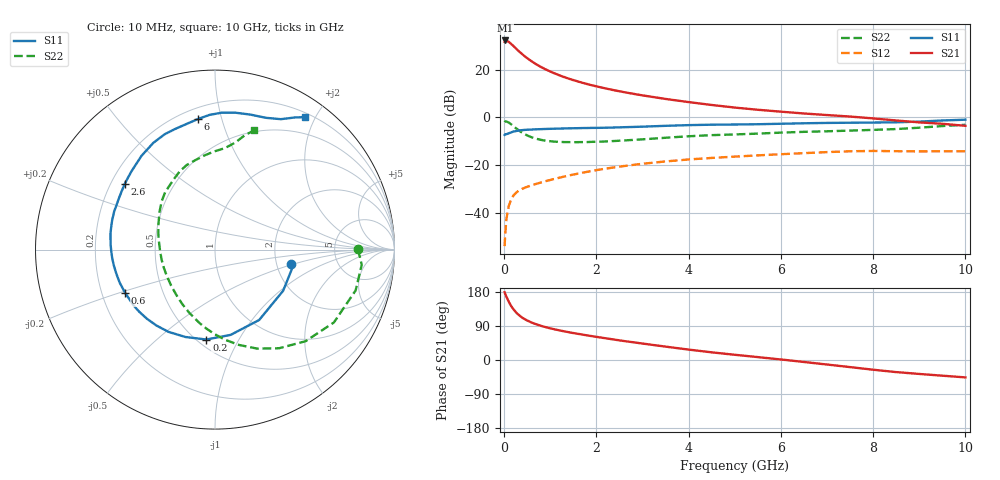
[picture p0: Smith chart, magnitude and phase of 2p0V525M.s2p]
! (c) 2009  Infineon Technologies AG, Munich
! Infineon Technologies  Discrete & RF Semiconductors
! BFP420
! VCE =  0.5 V,  IC =  25 mA
! Common Emitter S-Parameters:  Nov 2009
# GHz  S  MA  R  50
!  f  S11  S21  S12  S22
! GHz  MAG  ANG  MAG  ANG  MAG  ANG  MAG  ANG
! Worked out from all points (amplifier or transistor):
!   46 points, 10 MHz to 10 GHz, reference 50 ohm
!   highest |S21| = 32.2 dB at 20 MHz (marker M1)
!   |S21| within 3 dB of that: start of sweep to 237 MHz
!   unconditionally stable (mu >= 1): start of sweep to 19.49 MHz; 1.348 GHz to end of sweep
!   at 300 MHz: K = 0.42, MSG = 29.5 dB, |S12| = -31.0 dB
!   at 1.7 GHz: K = 1.07, MAG = 17.2 dB, |S12| = -23.2 dB
!   at 10 GHz: K = 1.04, MAG = 4.1 dB, |S12| = -14.2 dB
!   lowest NFmin = 1.38 dB at 900 MHz
!   S11 on the Smith chart (normalised r, x): 10 MHz: 2.40, -0.47; 200 MHz: 0.55, -0.74; 600 MHz: 0.30, -0.21; 2.6 GHz: 0.26, +0.30; 6 GHz: 0.27, +0.84; 10 GHz: 0.26, +1.86
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0.01  0.43 -10.8  38.16 178.7  0.002 96.7  0.7964 0.1
0.02  0.4426 -13.4  40.8 175.1  0.0032 90.7  0.8219 -5.9
0.05  0.4436 -31.1  40.3 166.7  0.0076 80.3  0.8159 -16.2
0.1  0.463 -57.9  38.16 153.9  0.0138 71.8  0.7769 -31.5
0.15  0.4831 -79.6  34.61 142.9  0.019 64.2  0.7174 -45.4
0.2  0.5033 -95.5  31.32 134.1  0.0229 58.6  0.6554 -57.0
0.25  0.514 -108.7  28.07 126.7  0.0259 54.7  0.5992 -67.0
0.3  0.5264 -119.4  25.22 120.6  0.0283 51.7  0.5486 -75.7
0.35  0.5342 -127.6  22.83 115.6  0.0304 49.8  0.5066 -83.4
0.45  0.546 -140.6  18.9 107.5  0.0336 47.4  0.4422 -96.3
0.6  0.5556 -154.2  14.81 98.6  0.0379 46.2  0.3809 -111.9
0.8  0.5661 -166.5  11.33 90.1  0.0432 46.2  0.337 -128.1
1  0.5749 -175.5  9.113 83.6  0.0487 46.6  0.3157 -140.9
1.3  0.5849 174.4  6.988 75.7  0.0574 46.7  0.3032 -155.9
1.7  0.5965 163.7  5.292 67.0  0.0692 45.7  0.3031 -171.0
2.6  0.6217 144.1  3.37 50.0  0.0955 39.5  0.3281 164.2
3.5  0.6641 128.0  2.428 35.3  0.1192 31.5  0.3735 145.9
5.5  0.7174 102.9  1.441 7.6  0.1596 12.9  0.4563 119.8
6  0.7338 97.4  1.314 1.4  0.1689 8.3  0.4785 114.2
7  0.7637 87.2  1.117 -11.9  0.187 -1.8  0.5104 102.3
8.5  0.787 68.9  0.86 -31.9  0.1953 -19.1  0.5682 84.4
10  0.8924 55.8  0.665 -45.9  0.1948 -29.7  0.6985 71.9
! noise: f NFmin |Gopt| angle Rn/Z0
0.9  1.38  0.22  -154  0.13
1.8  1.65  0.29  -143  0.13
2.4  1.81  0.26  -138  0.17
3  1.83  0.34  -129  0.18
4  1.97  0.45  -112  0.27
5  2.4  0.49  -95  0.44
6  2.85  0.54  -84  0.65
